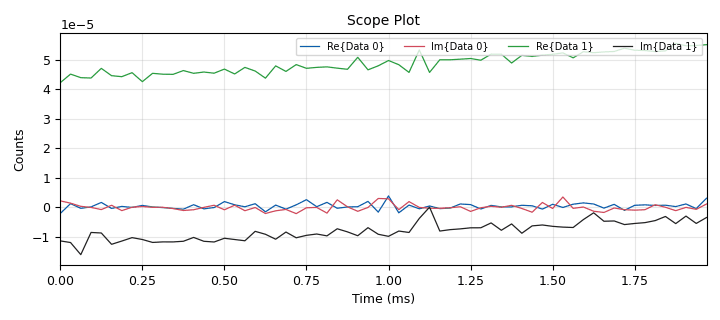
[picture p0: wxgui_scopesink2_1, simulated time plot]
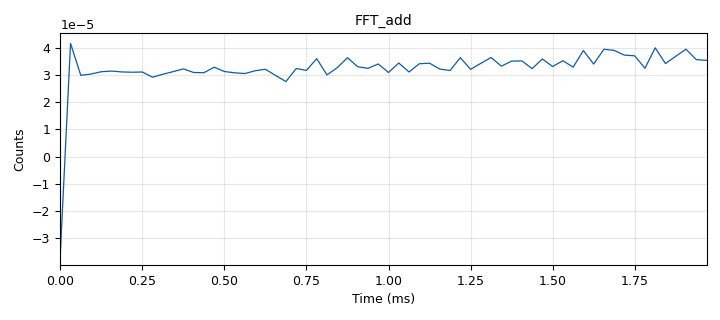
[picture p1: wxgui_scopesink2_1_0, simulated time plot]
<?xml version='1.0' encoding='utf-8'?>
<flow_graph>
<block>
<key>options</key>
<param><key>id</key><value>top_block</value></param>
<param><key>generate_options</key><value>wx_gui</value></param>
<param><key>category</key><value>Custom</value></param>
</block>
<block>
<key>variable</key>
<param><key>id</key><value>samp_rate</value></param>
<param><key>value</key><value>32000</value></param>
</block>
<block>
<key>variable</key>
<param><key>id</key><value>fft_window</value></param>
<param><key>value</key><value>2**10</value></param>
</block>
<block>
<key>blocks_stream_to_vector</key>
<param><key>id</key><value>blocks_stream_to_vector_0</value></param>
<param><key>type</key><value>complex</value></param>
<param><key>num_items</key><value>fft_window</value></param>
</block>
<block>
<key>analog_sig_source_x</key>
<param><key>id</key><value>analog_sig_source_x_0</value></param>
<param><key>type</key><value>complex</value></param>
<param><key>samp_rate</key><value>samp_rate</value></param>
<param><key>waveform</key><value>analog.GR_COS_WAVE</value></param>
<param><key>freq</key><value>1000</value></param>
<param><key>amp</key><value>1</value></param>
<param><key>offset</key><value>0</value></param>
</block>
<block>
<key>blocks_throttle</key>
<param><key>id</key><value>blocks_throttle_0</value></param>
<param><key>type</key><value>complex</value></param>
<param><key>samples_per_second</key><value>samp_rate</value></param>
</block>
<block>
<key>blocks_throttle</key>
<param><key>id</key><value>blocks_throttle_0_0</value></param>
<param><key>type</key><value>complex</value></param>
<param><key>samples_per_second</key><value>samp_rate</value></param>
</block>
<block>
<key>notebook</key>
<param><key>id</key><value>nb</value></param>
<param><key>style</key><value>wx.NB_TOP</value></param>
<param><key>labels</key><value>['tab1', 'tab2', 'tab3']</value></param>
</block>
<block>
<key>variable_slider</key>
<param><key>id</key><value>offset</value></param>
<param><key>label</key><value></value></param>
<param><key>value</key><value>100</value></param>
<param><key>min</key><value>0</value></param>
<param><key>max</key><value>1000</value></param>
<param><key>num_steps</key><value>100</value></param>
<param><key>style</key><value>wx.SL_HORIZONTAL</value></param>
<param><key>converver</key><value>float_converter</value></param>
</block>
<block>
<key>analog_sig_source_x</key>
<param><key>id</key><value>analog_sig_source_x_0_0</value></param>
<param><key>type</key><value>complex</value></param>
<param><key>samp_rate</key><value>samp_rate</value></param>
<param><key>waveform</key><value>analog.GR_COS_WAVE</value></param>
<param><key>freq</key><value>1000+offset</value></param>
<param><key>amp</key><value>1</value></param>
<param><key>offset</key><value>0</value></param>
</block>
<block>
<key>blocks_vector_to_stream</key>
<param><key>id</key><value>blocks_vector_to_stream_1</value></param>
<param><key>type</key><value>complex</value></param>
<param><key>num_items</key><value>fft_window</value></param>
</block>
<block>
<key>blocks_stream_to_vector</key>
<param><key>id</key><value>blocks_stream_to_vector_0_0</value></param>
<param><key>type</key><value>complex</value></param>
<param><key>num_items</key><value>fft_window</value></param>
</block>
<block>
<key>blocks_stream_to_vector</key>
<param><key>id</key><value>blocks_stream_to_vector_0_0_0</value></param>
<param><key>type</key><value>complex</value></param>
<param><key>num_items</key><value>fft_window</value></param>
</block>
<block>
<key>gr_null_source</key>
<param><key>id</key><value>gr_null_source_0</value></param>
<param><key>type</key><value>complex</value></param>
<param><key>vlen</key><value>1</value></param>
</block>
<block>
<key>fft_vxx</key>
<param><key>id</key><value>fft_vxx_0</value></param>
<param><key>type</key><value>complex</value></param>
<param><key>fft_size</key><value>1024</value></param>
<param><key>forward</key><value>True</value></param>
<param><key>window</key><value>window.blackmanharris(1024)</value></param>
<param><key>shift</key><value>True</value></param>
</block>
<block>
<key>fft_vxx</key>
<param><key>id</key><value>fft_vxx_0_0</value></param>
<param><key>type</key><value>complex</value></param>
<param><key>fft_size</key><value>1024</value></param>
<param><key>forward</key><value>True</value></param>
<param><key>window</key><value>window.blackmanharris(1024)</value></param>
<param><key>shift</key><value>True</value></param>
</block>
<block>
<key>wxgui_scopesink2</key>
<param><key>id</key><value>wxgui_scopesink2_1</value></param>
<param><key>type</key><value>complex</value></param>
<param><key>title</key><value>Scope Plot</value></param>
<param><key>samp_rate</key><value>samp_rate</value></param>
<param><key>v_scale</key><value>0</value></param>
<param><key>v_offset</key><value>0</value></param>
<param><key>t_scale</key><value>0</value></param>
<param><key>ac_couple</key><value>False</value></param>
<param><key>xy_mode</key><value>False</value></param>
<param><key>num_inputs</key><value>2</value></param>
<param><key>notebook</key><value>nb,0</value></param>
<param><key>trig_mode</key><value>gr.gr_TRIG_MODE_AUTO</value></param>
<param><key>y_axis_label</key><value>Counts</value></param>
</block>
<block>
<key>blocks_vector_to_stream</key>
<param><key>id</key><value>blocks_vector_to_stream_0</value></param>
<param><key>type</key><value>complex</value></param>
<param><key>num_items</key><value>fft_window</value></param>
</block>
<block>
<key>gr_complex_to_real</key>
<param><key>id</key><value>gr_complex_to_real_0</value></param>
<param><key>vlen</key><value>1</value></param>
</block>
<block>
<key>eecs_fft_max</key>
<param><key>id</key><value>eecs_fft_max_0</value></param>
<param><key>window</key><value>fft_window</value></param>
</block>
<block>
<key>blocks_add_xx</key>
<param><key>id</key><value>blocks_add_xx_0</value></param>
<param><key>type</key><value>complex</value></param>
<param><key>vlen</key><value>fft_window</value></param>
</block>
<block>
<key>wxgui_scopesink2</key>
<param><key>id</key><value>wxgui_scopesink2_0</value></param>
<param><key>type</key><value>float</value></param>
<param><key>title</key><value>Outputs</value></param>
<param><key>samp_rate</key><value>samp_rate</value></param>
<param><key>v_scale</key><value>0</value></param>
<param><key>v_offset</key><value>0</value></param>
<param><key>t_scale</key><value>0</value></param>
<param><key>ac_couple</key><value>False</value></param>
<param><key>xy_mode</key><value>False</value></param>
<param><key>num_inputs</key><value>2</value></param>
<param><key>notebook</key><value>nb,1</value></param>
<param><key>trig_mode</key><value>gr.gr_TRIG_MODE_STRIPCHART</value></param>
<param><key>y_axis_label</key><value>Counts</value></param>
</block>
<block>
<key>wxgui_scopesink2</key>
<param><key>id</key><value>wxgui_scopesink2_1_0</value></param>
<param><key>type</key><value>float</value></param>
<param><key>title</key><value>FFT_add</value></param>
<param><key>samp_rate</key><value>samp_rate</value></param>
<param><key>v_scale</key><value>0</value></param>
<param><key>v_offset</key><value>0</value></param>
<param><key>t_scale</key><value>0</value></param>
<param><key>ac_couple</key><value>False</value></param>
<param><key>xy_mode</key><value>False</value></param>
<param><key>num_inputs</key><value>1</value></param>
<param><key>notebook</key><value>nb,2</value></param>
<param><key>trig_mode</key><value>gr.gr_TRIG_MODE_AUTO</value></param>
<param><key>y_axis_label</key><value>Counts</value></param>
</block>
<block>
<key>blocks_vector_to_stream</key>
<param><key>id</key><value>blocks_vector_to_stream_0_0</value></param>
<param><key>type</key><value>complex</value></param>
<param><key>num_items</key><value>fft_window</value></param>
</block>
<connection><source_block_id>analog_sig_source_x_0</source_block_id><sink_block_id>blocks_throttle_0</sink_block_id><source_key>0</source_key><sink_key>0</sink_key></connection>
<connection><source_block_id>blocks_throttle_0</source_block_id><sink_block_id>blocks_stream_to_vector_0</sink_block_id><source_key>0</source_key><sink_key>0</sink_key></connection>
<connection><source_block_id>blocks_stream_to_vector_0</source_block_id><sink_block_id>fft_vxx_0</sink_block_id><source_key>0</source_key><sink_key>0</sink_key></connection>
<connection><source_block_id>blocks_stream_to_vector_0_0</source_block_id><sink_block_id>fft_vxx_0_0</sink_block_id><source_key>0</source_key><sink_key>0</sink_key></connection>
<connection><source_block_id>analog_sig_source_x_0_0</source_block_id><sink_block_id>blocks_throttle_0_0</sink_block_id><source_key>0</source_key><sink_key>0</sink_key></connection>
<connection><source_block_id>blocks_throttle_0_0</source_block_id><sink_block_id>blocks_stream_to_vector_0_0</sink_block_id><source_key>0</source_key><sink_key>0</sink_key></connection>
<connection><source_block_id>eecs_fft_max_0</source_block_id><sink_block_id>wxgui_scopesink2_0</sink_block_id><source_key>0</source_key><sink_key>0</sink_key></connection>
<connection><source_block_id>eecs_fft_max_0</source_block_id><sink_block_id>wxgui_scopesink2_0</sink_block_id><source_key>1</source_key><sink_key>1</sink_key></connection>
<connection><source_block_id>blocks_vector_to_stream_0</source_block_id><sink_block_id>wxgui_scopesink2_1</sink_block_id><source_key>0</source_key><sink_key>0</sink_key></connection>
<connection><source_block_id>blocks_vector_to_stream_1</source_block_id><sink_block_id>wxgui_scopesink2_1</sink_block_id><source_key>0</source_key><sink_key>1</sink_key></connection>
<connection><source_block_id>fft_vxx_0</source_block_id><sink_block_id>blocks_vector_to_stream_0</sink_block_id><source_key>0</source_key><sink_key>0</sink_key></connection>
<connection><source_block_id>fft_vxx_0_0</source_block_id><sink_block_id>blocks_vector_to_stream_1</sink_block_id><source_key>0</source_key><sink_key>0</sink_key></connection>
<connection><source_block_id>gr_null_source_0</source_block_id><sink_block_id>blocks_stream_to_vector_0_0_0</sink_block_id><source_key>0</source_key><sink_key>0</sink_key></connection>
<connection><source_block_id>blocks_stream_to_vector_0_0_0</source_block_id><sink_block_id>eecs_fft_max_0</sink_block_id><source_key>0</source_key><sink_key>1</sink_key></connection>
<connection><source_block_id>fft_vxx_0</source_block_id><sink_block_id>blocks_add_xx_0</sink_block_id><source_key>0</source_key><sink_key>0</sink_key></connection>
<connection><source_block_id>fft_vxx_0_0</source_block_id><sink_block_id>blocks_add_xx_0</sink_block_id><source_key>0</source_key><sink_key>1</sink_key></connection>
<connection><source_block_id>blocks_add_xx_0</source_block_id><sink_block_id>eecs_fft_max_0</sink_block_id><source_key>0</source_key><sink_key>0</sink_key></connection>
<connection><source_block_id>blocks_add_xx_0</source_block_id><sink_block_id>blocks_vector_to_stream_0_0</sink_block_id><source_key>0</source_key><sink_key>0</sink_key></connection>
<connection><source_block_id>gr_complex_to_real_0</source_block_id><sink_block_id>wxgui_scopesink2_1_0</sink_block_id><source_key>0</source_key><sink_key>0</sink_key></connection>
<connection><source_block_id>blocks_vector_to_stream_0_0</source_block_id><sink_block_id>gr_complex_to_real_0</sink_block_id><source_key>0</source_key><sink_key>0</sink_key></connection>
</flow_graph>
